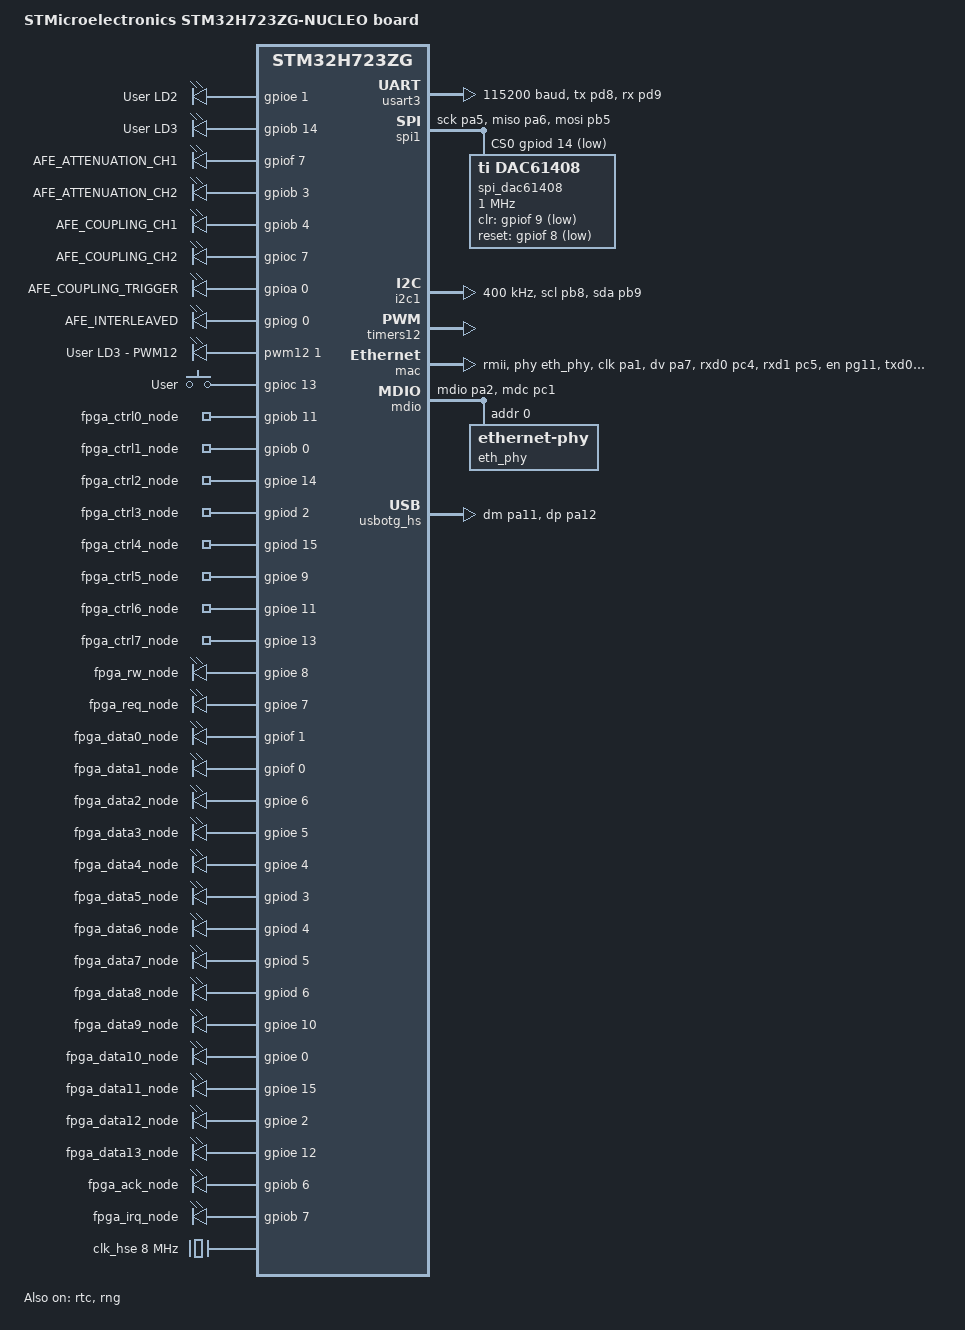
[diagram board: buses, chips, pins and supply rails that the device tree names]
/*
 * Copyright (c) 2020 Alexander Kozhinov <ak.alexander.kozhinov@gmail.com>
 * SPDX-License-Identifier: Apache-2.0
 */

/dts-v1/;
#include <st/h7/stm32h723Xg.dtsi>
#include <st/h7/stm32h723zgtx-pinctrl.dtsi>
#include "arduino_r3_connector.dtsi"
#include <zephyr/dt-bindings/input/input-event-codes.h>

/*
 * WARNING:
 * JP6 and SB72 must be ON when using Ethernet.
 */

/ {
	model = "STMicroelectronics STM32H723ZG-NUCLEO board";
	compatible = "st,stm32h723zg-nucleo";

	chosen {
		zephyr,console = &usart3;
		zephyr,shell-uart = &usart3;
		zephyr,dtcm = &dtcm;
		zephyr,sram = &sram0;
		zephyr,flash = &flash0;
		zephyr,canbus = &fdcan1;
	};

	leds: leds {
		compatible = "gpio-leds";

		/* PB0 remapped to fpga-ctrl1; green LED unavailable */

		yellow_led: led_1 {
			gpios = <&gpioe 1 GPIO_ACTIVE_HIGH>;
			label = "User LD2";
		};

		red_led: led_2 {
			gpios = <&gpiob 14 GPIO_ACTIVE_HIGH>;
			label = "User LD3";
		};
	};

	afe_manager: afe_manager {
		compatible = "gpio-leds";
		status = "okay";

		attenuation_ch1: attenuation_ch1 {
			gpios = <&gpiof 7 GPIO_ACTIVE_HIGH>;
			label = "AFE_ATTENUATION_CH1";
		};

		attenuation_ch2: attenuation_ch2 {
			gpios = <&gpiob 3 GPIO_ACTIVE_HIGH>;
			label = "AFE_ATTENUATION_CH2";
		};

		coupling_ch1: coupling_ch1 {
			gpios = <&gpiob 4 GPIO_ACTIVE_HIGH>;
			label = "AFE_COUPLING_CH1";
		};

		coupling_ch2: coupling_ch2 {
			gpios = <&gpioc 7 GPIO_ACTIVE_HIGH>;
			label = "AFE_COUPLING_CH2";
		};

		coupling_trigger: coupling_trigger {
			gpios = <&gpioa 0 GPIO_ACTIVE_HIGH>;
			label = "AFE_COUPLING_TRIGGER";
		};

		interleaved: interleaved {
			gpios = <&gpiog 0 GPIO_ACTIVE_HIGH>;
			label = "AFE_INTERLEAVED";
		};
	};

	pwmleds {
		compatible = "pwm-leds";

		red_pwm_led: red_pwm_led {
			pwms = <&pwm12 1 PWM_MSEC(20) PWM_POLARITY_NORMAL>;
			label = "User LD3 - PWM12";
		};
	};

	gpio_keys {
		compatible = "gpio-keys";

		user_button: button_0 {
			label = "User";
			gpios = <&gpioc 13 GPIO_ACTIVE_HIGH>;
			zephyr,code = <INPUT_KEY_0>;
		};
	};

	aliases {
		led0 = &yellow_led;
		led2 = &red_led;
		pwm-led0 = &red_pwm_led;
		sw0 = &user_button;
		dac0 = &spi_dac61408;

        /* MCU → FPGA: CTRL bus (8 pins, [2:0]=OP, [7:3]=PAYLOAD) */
        fpga-ctrl0 = &fpga_ctrl0_node;
        fpga-ctrl1 = &fpga_ctrl1_node;
        fpga-ctrl2 = &fpga_ctrl2_node;
        fpga-ctrl3 = &fpga_ctrl3_node;
        fpga-ctrl4 = &fpga_ctrl4_node;
        fpga-ctrl5 = &fpga_ctrl5_node;
        fpga-ctrl6 = &fpga_ctrl6_node;
        fpga-ctrl7 = &fpga_ctrl7_node;

        /* MCU → FPGA: direction and strobe */
        fpga-rw     = &fpga_rw_node;
        fpga-req    = &fpga_req_node;

        /* FPGA → MCU: DATA bus (14 pins) */
        fpga-data0  = &fpga_data0_node;
        fpga-data1  = &fpga_data1_node;
        fpga-data2  = &fpga_data2_node;
        fpga-data3  = &fpga_data3_node;
        fpga-data4  = &fpga_data4_node;
        fpga-data5  = &fpga_data5_node;
        fpga-data6  = &fpga_data6_node;
        fpga-data7  = &fpga_data7_node;
        fpga-data8  = &fpga_data8_node;
        fpga-data9  = &fpga_data9_node;
        fpga-data10 = &fpga_data10_node;
        fpga-data11 = &fpga_data11_node;
        fpga-data12 = &fpga_data12_node;
        fpga-data13 = &fpga_data13_node;

        /* FPGA → MCU: handshake and interrupt */
        fpga-ack    = &fpga_ack_node;
        fpga-irq    = &fpga_irq_node;
	};

	fpga_parallel: fpga_parallel {
		compatible = "gpio-leds";
		status = "okay";

		/* CTRL bus — outputs */
		fpga_ctrl0_node: fpga-ctrl0 { gpios = <&gpiob 11 GPIO_ACTIVE_HIGH>; };
		fpga_ctrl1_node: fpga-ctrl1 { gpios = <&gpiob 0 GPIO_ACTIVE_HIGH>; };
		fpga_ctrl2_node: fpga-ctrl2 { gpios = <&gpioe 14 GPIO_ACTIVE_HIGH>; };
		fpga_ctrl3_node: fpga-ctrl3 { gpios = <&gpiod 2 GPIO_ACTIVE_HIGH>; };
		fpga_ctrl4_node: fpga-ctrl4 { gpios = <&gpiod 15 GPIO_ACTIVE_HIGH>; };
		fpga_ctrl5_node: fpga-ctrl5 { gpios = <&gpioe 9 GPIO_ACTIVE_HIGH>; };
		fpga_ctrl6_node: fpga-ctrl6 { gpios = <&gpioe 11 GPIO_ACTIVE_HIGH>; };
		fpga_ctrl7_node: fpga-ctrl7 { gpios = <&gpioe 13 GPIO_ACTIVE_HIGH>; };

		fpga_rw_node:  fpga-rw  { gpios = <&gpioe 8 GPIO_ACTIVE_HIGH>; };
		fpga_req_node: fpga-req { gpios = <&gpioe 7 GPIO_ACTIVE_HIGH>; };

		/* DATA bus — inputs */
		fpga_data0_node:  fpga-data0  { gpios = <&gpiof 1 GPIO_ACTIVE_HIGH>; };
		fpga_data1_node:  fpga-data1  { gpios = <&gpiof 0 GPIO_ACTIVE_HIGH>; };
		fpga_data2_node:  fpga-data2  { gpios = <&gpioe 6 GPIO_ACTIVE_HIGH>; };
		fpga_data3_node:  fpga-data3  { gpios = <&gpioe 5 GPIO_ACTIVE_HIGH>; };
		fpga_data4_node:  fpga-data4  { gpios = <&gpioe 4 GPIO_ACTIVE_HIGH>; };
		fpga_data5_node:  fpga-data5  { gpios = <&gpiod 3 GPIO_ACTIVE_HIGH>; };
		fpga_data6_node:  fpga-data6  { gpios = <&gpiod 4 GPIO_ACTIVE_HIGH>; };
		fpga_data7_node:  fpga-data7  { gpios = <&gpiod 5 GPIO_ACTIVE_HIGH>; };
		fpga_data8_node:  fpga-data8  { gpios = <&gpiod 6 GPIO_ACTIVE_HIGH>; };
		fpga_data9_node:  fpga-data9  { gpios = <&gpioe 10 GPIO_ACTIVE_HIGH>; };
		fpga_data10_node: fpga-data10 { gpios = <&gpioe 0 GPIO_ACTIVE_HIGH>; };
		fpga_data11_node: fpga-data11 { gpios = <&gpioe 15 GPIO_ACTIVE_HIGH>; };
		fpga_data12_node: fpga-data12 { gpios = <&gpioe 2 GPIO_ACTIVE_HIGH>; };
		fpga_data13_node: fpga-data13 { gpios = <&gpioe 12 GPIO_ACTIVE_HIGH>; };

		fpga_ack_node: fpga-ack { gpios = <&gpiob 6 GPIO_ACTIVE_HIGH>; };
		fpga_irq_node: fpga-irq { gpios = <&gpiob 7 GPIO_ACTIVE_HIGH>; };
	};
};

&clk_lsi {
	status = "okay";
};

&clk_hsi48 {
	status = "okay";
};

&clk_hse {
	hse-bypass;
	clock-frequency = <DT_FREQ_M(8)>; /* STLink 8MHz clock */
	status = "okay";
};

&clk_lse {
	status = "okay";
};

&pll {
	div-m = <4>;
	mul-n = <275>;
	div-p = <1>;
	div-q = <4>;
	div-r = <2>;
	clocks = <&clk_hse>;
	status = "okay";
};

&pll2 {
	div-m = <1>;
	mul-n = <10>;
	div-p = <1>;
	div-q = <1>;
	div-r = <1>;
	clocks = <&clk_hse>;
	status = "okay";
};

&rcc {
	clocks = <&pll>;
	clock-frequency = <DT_FREQ_M(550)>;
	d1cpre = <1>;
	hpre = <2>;    /* HCLK: 275   MHz */
	d1ppre = <2>;  /* APB1: 137.5 MHz */
	d2ppre1 = <2>; /* APB2: 137.5 MHz */
	d2ppre2 = <2>; /* APB3: 137.5 MHz */
	d3ppre = <2>;  /* APB4: 137.5 MHz */
};

&lpuart1 {
	pinctrl-0 = <&lpuart1_tx_pb6 &lpuart1_rx_pb7>;
	pinctrl-names = "default";
	current-speed = <115200>;
	status = "disabled"; /* PB6/PB7 used by fpga-ack/fpga-irq */
};

&usart3 {
	pinctrl-0 = <&usart3_tx_pd8 &usart3_rx_pd9>;
	pinctrl-names = "default";
	current-speed = <115200>;
	status = "okay";
};

&usart2 {
	pinctrl-0 = <&usart2_tx_pd5 &usart2_rx_pd6>;
	pinctrl-names = "default";
	current-speed = <115200>;
	status = "disabled"; /* PD5/PD6 used by fpga-data7/fpga-data8 */
};

&rtc {
	clocks = <&rcc STM32_CLOCK_BUS_APB4 0x00010000>,
		 <&rcc STM32_SRC_LSI RTC_SEL(2)>;
	status = "okay";
};

&spi1 {
	status = "okay";
	pinctrl-0 = <&spi1_sck_pa5 &spi1_miso_pa6 &spi1_mosi_pb5>;
	pinctrl-names = "default";
	cs-gpios = <&gpiod 14 (GPIO_ACTIVE_LOW | GPIO_PULL_UP)>;

	spi_dac61408: dac61408@0 {
		compatible = "ti,dac61408";
		status = "okay";

		reg = <0x0>;

		clr-gpios = <&gpiof 9  (GPIO_ACTIVE_LOW | GPIO_PULL_UP)>;
		reset-gpios = <&gpiof 8 (GPIO_ACTIVE_LOW | GPIO_PULL_UP)>;

		spi-max-frequency = <1000000>;
		spi-cpha;
		#io-channel-cells = <1>;
		
		voltage-reference = <0>;
		channel-gains = <0 0 0 0 0 0 0 0>;
	};
};

&i2c1 {
	pinctrl-0 = <&i2c1_scl_pb8 &i2c1_sda_pb9>;
	pinctrl-names = "default";
	status = "okay";
	clock-frequency = <I2C_BITRATE_FAST>;
};

&backup_sram {
	status = "okay";
};

&timers12 {
	st,prescaler = <10000>;
	status = "okay";

	pwm12: pwm {
		status = "okay";
		pinctrl-0 = <&tim12_ch1_pb14>;
		pinctrl-names = "default";
	};
};

&mac {
	status = "okay";
	pinctrl-0 = <&eth_ref_clk_pa1
		     &eth_crs_dv_pa7
		     &eth_rxd0_pc4
		     &eth_rxd1_pc5
		     &eth_tx_en_pg11
		     &eth_txd0_pg13
		     &eth_txd1_pb13>;
	pinctrl-names = "default";
	phy-connection-type = "rmii";
	phy-handle = <&eth_phy>;
};

&mdio {
	status = "okay";
	pinctrl-0 = <&eth_mdio_pa2 &eth_mdc_pc1>;
	pinctrl-names = "default";

	eth_phy: ethernet-phy@0 {
		compatible = "ethernet-phy";
		reg = <0>;
	};
};

zephyr_udc0: &usbotg_hs {
	pinctrl-0 = <&usb_otg_hs_dm_pa11 &usb_otg_hs_dp_pa12>;
	pinctrl-names = "default";
	status = "okay";
};

&rng {
	status = "okay";
};

